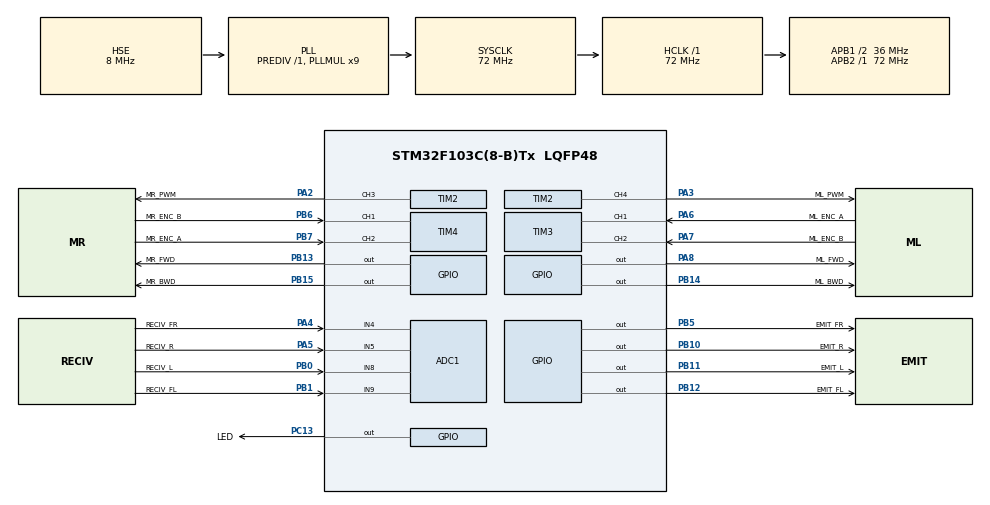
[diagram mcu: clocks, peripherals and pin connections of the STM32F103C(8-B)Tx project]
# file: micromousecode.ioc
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ADC1.Channel-0\#ChannelRegularConversion=ADC_CHANNEL_9
ADC1.NbrOfConversionFlag=1
ADC1.Rank-0\#ChannelRegularConversion=1
ADC1.SamplingTime-0\#ChannelRegularConversion=ADC_SAMPLETIME_1CYCLE_5
ADC1.master=1
Mcu.Family=STM32F1
Mcu.Name=STM32F103C(8-B)Tx
Mcu.Package=LQFP48
NVIC.PriorityGroup=NVIC_PRIORITYGROUP_4
NVIC.TIM2_IRQn=true\:0\:0\:false\:false\:true\:true\:true\:true
NVIC.TIM3_IRQn=true\:0\:0\:false\:false\:true\:true\:true\:true
NVIC.TIM4_IRQn=true\:0\:0\:false\:false\:true\:true\:true\:true
PA13.Mode=Serial_Wire
PA13.Signal=SYS_JTMS-SWDIO
PA14.Mode=Serial_Wire
PA14.Signal=SYS_JTCK-SWCLK
PA2.GPIO_Label=MR_PWM
PA2.Signal=S_TIM2_CH3
PA3.GPIO_Label=ML_PWM
PA3.Signal=S_TIM2_CH4
PA4.GPIO_Label=RECIV_FR
PA4.Signal=ADCx_IN4
PA5.GPIO_Label=RECIV_R
PA5.Signal=ADCx_IN5
PA6.GPIO_Label=ML_ENC_A
PA6.Signal=S_TIM3_CH1
PA7.GPIO_Label=ML_ENC_B
PA7.Signal=S_TIM3_CH2
PA8.GPIO_Label=ML_FWD
PA8.Signal=GPIO_Output
PB0.GPIO_Label=RECIV_L
PB0.Signal=ADCx_IN8
PB1.GPIO_Label=RECIV_FL
PB1.Signal=ADCx_IN9
PB10.GPIO_Label=EMIT_R
PB10.Signal=GPIO_Output
PB11.GPIO_Label=EMIT_L
PB11.Signal=GPIO_Output
PB12.GPIO_Label=EMIT_FL
PB12.Signal=GPIO_Output
PB13.GPIO_Label=MR_FWD
PB13.Signal=GPIO_Output
PB14.GPIO_Label=ML_BWD
PB14.Signal=GPIO_Output
PB15.GPIO_Label=MR_BWD
PB15.Signal=GPIO_Output
PB5.GPIO_Label=EMIT_FR
PB5.Signal=GPIO_Output
PB6.GPIO_Label=MR_ENC_B
PB6.Signal=S_TIM4_CH1
PB7.GPIO_Label=MR_ENC_A
PB7.Signal=S_TIM4_CH2
PC13-TAMPER-RTC.GPIO_Label=LED
PC13-TAMPER-RTC.Signal=GPIO_Output
PD0-OSC_IN.Mode=HSE-External-Oscillator
PD0-OSC_IN.Signal=RCC_OSC_IN
PD1-OSC_OUT.Mode=HSE-External-Oscillator
PD1-OSC_OUT.Signal=RCC_OSC_OUT
ProjectManager.HeapSize=0x200
ProjectManager.StackSize=0x400
ProjectManager.TargetToolchain=STM32CubeIDE
RCC.ADCPresc=RCC_ADCPCLK2_DIV6
RCC.AHBFreq_Value=72000000
RCC.APB1CLKDivider=RCC_HCLK_DIV2
RCC.APB1Freq_Value=36000000
RCC.APB1TimFreq_Value=72000000
RCC.APB2Freq_Value=72000000
RCC.APB2TimFreq_Value=72000000
RCC.HCLKFreq_Value=72000000
RCC.PLLMUL=RCC_PLL_MUL9
RCC.PLLSourceVirtual=RCC_PLLSOURCE_HSE
RCC.SYSCLKFreq_VALUE=72000000
RCC.SYSCLKSource=RCC_SYSCLKSOURCE_PLLCLK
RCC.USBFreq_Value=72000000
SH.ADCx_IN4.0=ADC1_IN4,IN4
SH.ADCx_IN5.0=ADC1_IN5,IN5
SH.ADCx_IN8.0=ADC1_IN8,IN8
SH.ADCx_IN9.0=ADC1_IN9,IN9
SH.S_TIM2_CH3.0=TIM2_CH3,PWM Generation3 CH3
SH.S_TIM2_CH4.0=TIM2_CH4,PWM Generation4 CH4
SH.S_TIM3_CH1.0=TIM3_CH1,Encoder_Interface
SH.S_TIM3_CH2.0=TIM3_CH2,Encoder_Interface
SH.S_TIM4_CH1.0=TIM4_CH1,Encoder_Interface
SH.S_TIM4_CH2.0=TIM4_CH2,Encoder_Interface
TIM2.AutoReloadPreload=TIM_AUTORELOAD_PRELOAD_ENABLE
TIM2.Channel-PWM\ Generation3\ CH3=TIM_CHANNEL_3
TIM2.Channel-PWM\ Generation4\ CH4=TIM_CHANNEL_4
TIM2.Period=1000
TIM2.Prescaler=72
TIM3.EncoderMode=TIM_ENCODERMODE_TI12
TIM3.IC1Polarity=TIM_ICPOLARITY_FALLING
TIM3.IC2Polarity=TIM_ICPOLARITY_FALLING
TIM4.EncoderMode=TIM_ENCODERMODE_TI12
TIM4.IC1Polarity=TIM_ICPOLARITY_FALLING
TIM4.IC2Polarity=TIM_ICPOLARITY_FALLING
VP_TIM2_VS_ClockSourceINT.Mode=Internal
board=custom

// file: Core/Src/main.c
/* USER CODE BEGIN Header */
/**
  ******************************************************************************
  * @file           : main.c
  * @brief          : Main program body
  ******************************************************************************
  * @attention
  *
  * Copyright (c) 2026 STMicroelectronics.
  * All rights reserved.
  *
  * This software is licensed under terms that can be found in the LICENSE file
  * in the root directory of this software component.
  * If no LICENSE file comes with this software, it is provided AS-IS.
  *
  ******************************************************************************
  */
/* USER CODE END Header */
#include "main.h"

/* USER CODE BEGIN Includes */
#include "Motor.h"
#include "IR.h"
#include "Control.h"
/* USER CODE END Includes */

ADC_HandleTypeDef hadc1;

TIM_HandleTypeDef htim2;
TIM_HandleTypeDef htim3;
TIM_HandleTypeDef htim4;

/* USER CODE BEGIN PV */
int t = 0;
uint16_t volatile dis_FL;
uint16_t volatile dis_FR;
uint16_t volatile dis_L;
uint16_t volatile dis_R;
/* USER CODE END PV */

void SystemClock_Config(void);
static void MX_GPIO_Init(void);
static void MX_TIM2_Init(void);
static void MX_TIM3_Init(void);
static void MX_TIM4_Init(void);
static void MX_ADC1_Init(void);
/* USER CODE BEGIN PFP */
void HAL_TIM_IC_CaptureCallback(TIM_HandleTypeDef *htim);
/* USER CODE END PFP */

/* USER CODE BEGIN 0 */
//SysTick timer
void HAL_TIM_PeriodElapsedCallback(TIM_HandleTypeDef* htim) {
	if(htim->Instance == TIM2){
		t++;
	}
}
/* USER CODE END 0 */

int main(void)
{

  /* MCU Configuration--------------------------------------------------------*/

  /* Reset of all peripherals, Initializes the Flash interface and the Systick. */
  HAL_Init();

  /* Configure the system clock */
  SystemClock_Config();

  /* Initialize all configured peripherals */
  MX_GPIO_Init();
  MX_TIM2_Init();
  MX_TIM3_Init();
  MX_TIM4_Init();
  MX_ADC1_Init();
  /* USER CODE BEGIN 2 */
  HAL_TIM_PWM_Start(&htim2, TIM_CHANNEL_3);
  HAL_TIM_PWM_Start(&htim2, TIM_CHANNEL_4);
  HAL_TIM_Base_Start_IT(&htim2);

  HAL_TIM_Encoder_Start_IT(&htim3, TIM_CHANNEL_ALL);
  HAL_TIM_Encoder_Start_IT(&htim4, TIM_CHANNEL_ALL);
  /* USER CODE END 2 */

  /* Infinite loop */
  /* USER CODE BEGIN WHILE */

  while (1)
  {
	  HAL_GPIO_TogglePin(LED_GPIO_Port, LED_Pin);

//	  HAL_GPIO_WritePin(ML_FWD_GPIO_Port, ML_FWD_Pin, GPIO_PIN_SET);
//	  HAL_GPIO_WritePin(ML_BWD_GPIO_Port, ML_BWD_Pin, GPIO_PIN_RESET);
//
//	  //right motor drive backwards
//	  HAL_GPIO_WritePin(MR_FWD_GPIO_Port, MR_FWD_Pin, GPIO_PIN_SET);
//	  HAL_GPIO_WritePin(MR_BWD_GPIO_Port, MR_BWD_Pin, GPIO_PIN_RESET);
//	  htim2.Instance->CCR3 = 500;
//	  htim2.Instance->CCR4 = 500;

	  dis_FL = measure_dist(DIST_FL);
	  dis_L = measure_dist(DIST_L);
	  dis_FR = measure_dist(DIST_FR);
	  dis_R = measure_dist(DIST_R);

	  HAL_Delay(1000);
    /* USER CODE END WHILE */
  }
}

void SystemClock_Config(void)
{
  RCC_OscInitTypeDef RCC_OscInitStruct = {0};
  RCC_ClkInitTypeDef RCC_ClkInitStruct = {0};
  RCC_PeriphCLKInitTypeDef PeriphClkInit = {0};

  /** Initializes the RCC Oscillators according to the specified parameters
  * in the RCC_OscInitTypeDef structure.
  */
  RCC_OscInitStruct.OscillatorType = RCC_OSCILLATORTYPE_HSE;
  RCC_OscInitStruct.HSEState = RCC_HSE_ON;
  RCC_OscInitStruct.HSEPredivValue = RCC_HSE_PREDIV_DIV1;
  RCC_OscInitStruct.HSIState = RCC_HSI_ON;
  RCC_OscInitStruct.PLL.PLLState = RCC_PLL_ON;
  RCC_OscInitStruct.PLL.PLLSource = RCC_PLLSOURCE_HSE;
  RCC_OscInitStruct.PLL.PLLMUL = RCC_PLL_MUL9;
  if (HAL_RCC_OscConfig(&RCC_OscInitStruct) != HAL_OK)
  {
    Error_Handler();
  }

  /** Initializes the CPU, AHB and APB buses clocks
  */
  RCC_ClkInitStruct.ClockType = RCC_CLOCKTYPE_HCLK|RCC_CLOCKTYPE_SYSCLK
                              |RCC_CLOCKTYPE_PCLK1|RCC_CLOCKTYPE_PCLK2;
  RCC_ClkInitStruct.SYSCLKSource = RCC_SYSCLKSOURCE_PLLCLK;
  RCC_ClkInitStruct.AHBCLKDivider = RCC_SYSCLK_DIV1;
  RCC_ClkInitStruct.APB1CLKDivider = RCC_HCLK_DIV2;
  RCC_ClkInitStruct.APB2CLKDivider = RCC_HCLK_DIV1;

  if (HAL_RCC_ClockConfig(&RCC_ClkInitStruct, FLASH_LATENCY_2) != HAL_OK)
  {
    Error_Handler();
  }
  PeriphClkInit.PeriphClockSelection = RCC_PERIPHCLK_ADC;
  PeriphClkInit.AdcClockSelection = RCC_ADCPCLK2_DIV6;
  if (HAL_RCCEx_PeriphCLKConfig(&PeriphClkInit) != HAL_OK)
  {
    Error_Handler();
  }
}

static void MX_ADC1_Init(void)
{

  ADC_ChannelConfTypeDef sConfig = {0};

  /** Common config
  */
  hadc1.Instance = ADC1;
  hadc1.Init.ScanConvMode = ADC_SCAN_DISABLE;
  hadc1.Init.ContinuousConvMode = DISABLE;
  hadc1.Init.DiscontinuousConvMode = DISABLE;
  hadc1.Init.ExternalTrigConv = ADC_SOFTWARE_START;
  hadc1.Init.DataAlign = ADC_DATAALIGN_RIGHT;
  hadc1.Init.NbrOfConversion = 1;
  if (HAL_ADC_Init(&hadc1) != HAL_OK)
  {
    Error_Handler();
  }

  /** Configure Regular Channel
  */
  sConfig.Channel = ADC_CHANNEL_9;
  sConfig.Rank = ADC_REGULAR_RANK_1;
  sConfig.SamplingTime = ADC_SAMPLETIME_1CYCLE_5;
  if (HAL_ADC_ConfigChannel(&hadc1, &sConfig) != HAL_OK)
  {
    Error_Handler();
  }

}

static void MX_TIM2_Init(void)
{

  TIM_ClockConfigTypeDef sClockSourceConfig = {0};
  TIM_MasterConfigTypeDef sMasterConfig = {0};
  TIM_OC_InitTypeDef sConfigOC = {0};

  htim2.Instance = TIM2;
  htim2.Init.Prescaler = 72;
  htim2.Init.CounterMode = TIM_COUNTERMODE_UP;
  htim2.Init.Period = 1000;
  htim2.Init.ClockDivision = TIM_CLOCKDIVISION_DIV1;
  htim2.Init.AutoReloadPreload = TIM_AUTORELOAD_PRELOAD_ENABLE;
  if (HAL_TIM_Base_Init(&htim2) != HAL_OK)
  {
    Error_Handler();
  }
  sClockSourceConfig.ClockSource = TIM_CLOCKSOURCE_INTERNAL;
  if (HAL_TIM_ConfigClockSource(&htim2, &sClockSourceConfig) != HAL_OK)
  {
    Error_Handler();
  }
  if (HAL_TIM_PWM_Init(&htim2) != HAL_OK)
  {
    Error_Handler();
  }
  sMasterConfig.MasterOutputTrigger = TIM_TRGO_RESET;
  sMasterConfig.MasterSlaveMode = TIM_MASTERSLAVEMODE_DISABLE;
  if (HAL_TIMEx_MasterConfigSynchronization(&htim2, &sMasterConfig) != HAL_OK)
  {
    Error_Handler();
  }
  sConfigOC.OCMode = TIM_OCMODE_PWM1;
  sConfigOC.Pulse = 0;
  sConfigOC.OCPolarity = TIM_OCPOLARITY_HIGH;
  sConfigOC.OCFastMode = TIM_OCFAST_DISABLE;
  if (HAL_TIM_PWM_ConfigChannel(&htim2, &sConfigOC, TIM_CHANNEL_3) != HAL_OK)
  {
    Error_Handler();
  }
  if (HAL_TIM_PWM_ConfigChannel(&htim2, &sConfigOC, TIM_CHANNEL_4) != HAL_OK)
  {
    Error_Handler();
  }
  HAL_TIM_MspPostInit(&htim2);

}

static void MX_TIM3_Init(void)
{

  TIM_Encoder_InitTypeDef sConfig = {0};
  TIM_MasterConfigTypeDef sMasterConfig = {0};

  htim3.Instance = TIM3;
  htim3.Init.Prescaler = 0;
  htim3.Init.CounterMode = TIM_COUNTERMODE_UP;
  htim3.Init.Period = 65535;
  htim3.Init.ClockDivision = TIM_CLOCKDIVISION_DIV1;
  htim3.Init.AutoReloadPreload = TIM_AUTORELOAD_PRELOAD_DISABLE;
  sConfig.EncoderMode = TIM_ENCODERMODE_TI12;
  sConfig.IC1Polarity = TIM_ICPOLARITY_FALLING;
  sConfig.IC1Selection = TIM_ICSELECTION_DIRECTTI;
  sConfig.IC1Prescaler = TIM_ICPSC_DIV1;
  sConfig.IC1Filter = 0;
  sConfig.IC2Polarity = TIM_ICPOLARITY_FALLING;
  sConfig.IC2Selection = TIM_ICSELECTION_DIRECTTI;
  sConfig.IC2Prescaler = TIM_ICPSC_DIV1;
  sConfig.IC2Filter = 0;
  if (HAL_TIM_Encoder_Init(&htim3, &sConfig) != HAL_OK)
  {
    Error_Handler();
  }
  sMasterConfig.MasterOutputTrigger = TIM_TRGO_RESET;
  sMasterConfig.MasterSlaveMode = TIM_MASTERSLAVEMODE_DISABLE;
  if (HAL_TIMEx_MasterConfigSynchronization(&htim3, &sMasterConfig) != HAL_OK)
  {
    Error_Handler();
  }

}

static void MX_TIM4_Init(void)
{

  TIM_Encoder_InitTypeDef sConfig = {0};
  TIM_MasterConfigTypeDef sMasterConfig = {0};

  htim4.Instance = TIM4;
  htim4.Init.Prescaler = 0;
  htim4.Init.CounterMode = TIM_COUNTERMODE_UP;
  htim4.Init.Period = 65535;
  htim4.Init.ClockDivision = TIM_CLOCKDIVISION_DIV1;
  htim4.Init.AutoReloadPreload = TIM_AUTORELOAD_PRELOAD_DISABLE;
  sConfig.EncoderMode = TIM_ENCODERMODE_TI12;
  sConfig.IC1Polarity = TIM_ICPOLARITY_FALLING;
  sConfig.IC1Selection = TIM_ICSELECTION_DIRECTTI;
  sConfig.IC1Prescaler = TIM_ICPSC_DIV1;
  sConfig.IC1Filter = 0;
  sConfig.IC2Polarity = TIM_ICPOLARITY_FALLING;
  sConfig.IC2Selection = TIM_ICSELECTION_DIRECTTI;
  sConfig.IC2Prescaler = TIM_ICPSC_DIV1;
  sConfig.IC2Filter = 0;
  if (HAL_TIM_Encoder_Init(&htim4, &sConfig) != HAL_OK)
  {
    Error_Handler();
  }
  sMasterConfig.MasterOutputTrigger = TIM_TRGO_RESET;
  sMasterConfig.MasterSlaveMode = TIM_MASTERSLAVEMODE_DISABLE;
  if (HAL_TIMEx_MasterConfigSynchronization(&htim4, &sMasterConfig) != HAL_OK)
  {
    Error_Handler();
  }

}

static void MX_GPIO_Init(void)
{
  GPIO_InitTypeDef GPIO_InitStruct = {0};

  /* GPIO Ports Clock Enable */
  __HAL_RCC_GPIOC_CLK_ENABLE();
  __HAL_RCC_GPIOD_CLK_ENABLE();
  __HAL_RCC_GPIOA_CLK_ENABLE();
  __HAL_RCC_GPIOB_CLK_ENABLE();

  /*Configure GPIO pin Output Level */
  HAL_GPIO_WritePin(LED_GPIO_Port, LED_Pin, GPIO_PIN_RESET);

  /*Configure GPIO pin Output Level */
  HAL_GPIO_WritePin(GPIOB, EMIT_R_Pin|EMIT_L_Pin|EMIT_FL_Pin|MR_FWD_Pin
                          |ML_BWD_Pin|MR_BWD_Pin|EMIT_FR_Pin, GPIO_PIN_RESET);

  /*Configure GPIO pin Output Level */
  HAL_GPIO_WritePin(ML_FWD_GPIO_Port, ML_FWD_Pin, GPIO_PIN_RESET);

  /*Configure GPIO pin : LED_Pin */
  GPIO_InitStruct.Pin = LED_Pin;
  GPIO_InitStruct.Mode = GPIO_MODE_OUTPUT_PP;
  GPIO_InitStruct.Pull = GPIO_NOPULL;
  GPIO_InitStruct.Speed = GPIO_SPEED_FREQ_LOW;
  HAL_GPIO_Init(LED_GPIO_Port, &GPIO_InitStruct);

  /*Configure GPIO pins : EMIT_R_Pin EMIT_L_Pin EMIT_FL_Pin MR_FWD_Pin
                           ML_BWD_Pin MR_BWD_Pin EMIT_FR_Pin */
  GPIO_InitStruct.Pin = EMIT_R_Pin|EMIT_L_Pin|EMIT_FL_Pin|MR_FWD_Pin
                          |ML_BWD_Pin|MR_BWD_Pin|EMIT_FR_Pin;
  GPIO_InitStruct.Mode = GPIO_MODE_OUTPUT_PP;
  GPIO_InitStruct.Pull = GPIO_NOPULL;
  GPIO_InitStruct.Speed = GPIO_SPEED_FREQ_LOW;
  HAL_GPIO_Init(GPIOB, &GPIO_InitStruct);

  /*Configure GPIO pin : ML_FWD_Pin */
  GPIO_InitStruct.Pin = ML_FWD_Pin;
  GPIO_InitStruct.Mode = GPIO_MODE_OUTPUT_PP;
  GPIO_InitStruct.Pull = GPIO_NOPULL;
  GPIO_InitStruct.Speed = GPIO_SPEED_FREQ_LOW;
  HAL_GPIO_Init(ML_FWD_GPIO_Port, &GPIO_InitStruct);

}

void Error_Handler(void)
{
  __disable_irq();
  while (1)
  {
  }
}
